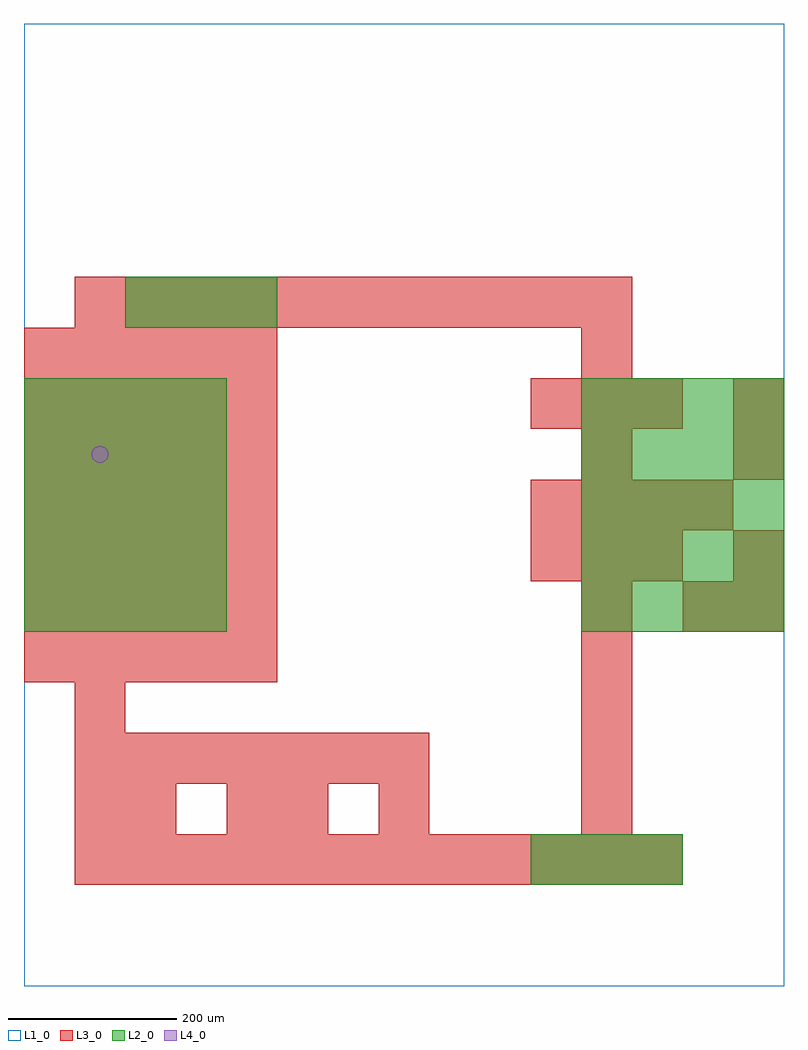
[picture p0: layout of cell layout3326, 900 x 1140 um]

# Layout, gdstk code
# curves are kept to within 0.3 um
import gdstk
lib = gdstk.Library(unit=1e-6, precision=1e-09)
def R(c, l, rs):  # rectangles x0, y0, x1, y1
    for r in rs: c.add(gdstk.rectangle(r[:2], r[2:], *l))
def A(c, l, x, y, w, h, nx, ny, dx, dy):  # array of equal rectangles
    R(c, l, [(x+i*dx, y+j*dy, x+i*dx+w, y+j*dy+h) for i in range(nx) for j in range(ny)])
def P(c, l, *ps):  # polygons
    for p in ps: c.add(gdstk.Polygon(p, *l))
L1_0 = (1, 0)
L2_0 = (2, 0)
L3_0 = (3, 0)
L4_0 = (4, 0)

layout3326 = lib.new_cell('layout3326')
R(layout3326, L1_0, [(0,0,900,1140)])
A(layout3326, L2_0, 600, 120, 60, 60, 3, 1, 60, 0)
A(layout3326, L2_0, 0, 420, 60, 60, 4, 5, 60, 60)
A(layout3326, L2_0, 660, 420, 60, 60, 4, 5, 60, 60)
A(layout3326, L2_0, 120, 780, 60, 60, 3, 1, 60, 0)
A(layout3326, L3_0, 60, 120, 60, 60, 12, 1, 60, 0)
A(layout3326, L3_0, 660, 180, 60, 60, 1, 5, 0, 60)
A(layout3326, L3_0, 60, 240, 60, 60, 7, 1, 60, 0)
A(layout3326, L3_0, 0, 360, 60, 60, 5, 7, 60, 60)
A(layout3326, L3_0, 600, 480, 60, 60, 3, 2, 60, 180)
A(layout3326, L3_0, 600, 540, 60, 60, 4, 1, 60, 0)
A(layout3326, L3_0, 60, 780, 60, 60, 11, 1, 60, 0)
R(layout3326, L3_0, [(60,180,120,240), (120,180,180,240), (240,180,300,240), (300,180,360,240), (420,180,480,240), (60,300,120,360), (780,420,840,480), (840,420,900,480), (840,480,900,540), (660,600,720,660), (840,600,900,660), (840,660,900,720), (660,720,720,780)])
P(layout3326, L4_0, [(100,630),(99.239,633.827),(97.071,637.071),(93.827,639.239),(90,640),(86.173,639.239),(82.929,637.071),(80.761,633.827),(80,630),(80.761,626.173),(82.929,622.929),(86.173,620.761),(90,620),(93.827,620.761),(97.071,622.929),(99.239,626.173)])

lib.write_gds('layout3326.gds')
